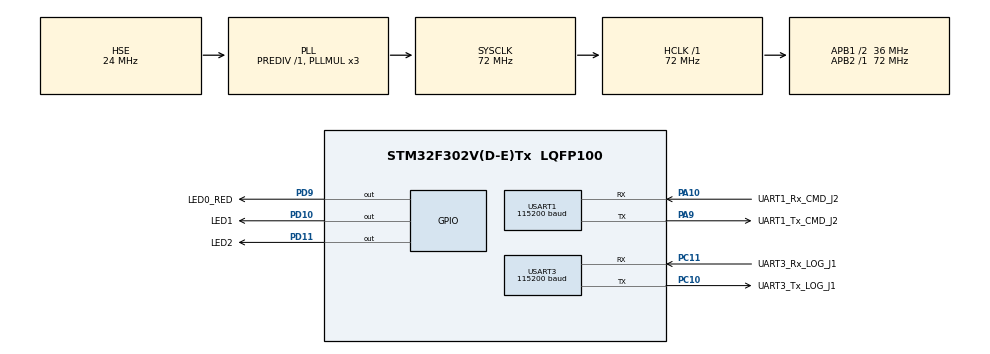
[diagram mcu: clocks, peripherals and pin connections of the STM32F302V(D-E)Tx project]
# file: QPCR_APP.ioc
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Dma.Request0=USART1_RX
Dma.USART1_RX.0.Direction=DMA_PERIPH_TO_MEMORY
Dma.USART1_RX.0.Instance=DMA1_Channel5
Dma.USART1_RX.0.MemDataAlignment=DMA_MDATAALIGN_BYTE
Dma.USART1_RX.0.MemInc=DMA_MINC_ENABLE
Dma.USART1_RX.0.Mode=DMA_CIRCULAR
Dma.USART1_RX.0.PeriphDataAlignment=DMA_PDATAALIGN_BYTE
Dma.USART1_RX.0.PeriphInc=DMA_PINC_DISABLE
Dma.USART1_RX.0.Priority=DMA_PRIORITY_HIGH
FREERTOS.INCLUDE_eTaskGetState=1
FREERTOS.Tasks01=taskTempCtrl,2,1024,startTaskTempCtrl,Default,NULL,Dynamic,NULL,NULL;taskCMDProcess,0,1024,startTaskCMDProcess,Default,NULL,Dynamic,NULL,NULL
FREERTOS.configCHECK_FOR_STACK_OVERFLOW=2
FREERTOS.configGENERATE_RUN_TIME_STATS=1
FREERTOS.configTOTAL_HEAP_SIZE=20480
FREERTOS.configUSE_IDLE_HOOK=1
FREERTOS.configUSE_MALLOC_FAILED_HOOK=1
FREERTOS.configUSE_STATS_FORMATTING_FUNCTIONS=1
FREERTOS.configUSE_TICK_HOOK=1
Mcu.Family=STM32F3
Mcu.Name=STM32F302V(D-E)Tx
Mcu.Package=LQFP100
NVIC.DMA1_Channel5_IRQn=true\:5\:0\:false\:false\:true\:true\:false\:true\:true
NVIC.PriorityGroup=NVIC_PRIORITYGROUP_4
NVIC.TIM6_DAC_IRQn=true\:15\:0\:false\:false\:true\:false\:false\:true\:true
NVIC.TimeBase=TIM6_DAC_IRQn
NVIC.TimeBaseIP=TIM6
NVIC.USART1_IRQn=true\:5\:0\:false\:false\:true\:true\:true\:true\:true
PA10.GPIO_Label=UART1_Rx_CMD_J2
PA10.GPIO_PuPd=GPIO_PULLUP
PA10.Mode=Asynchronous
PA10.Signal=USART1_RX
PA13.Mode=JTAG_5_pins
PA13.Signal=SYS_JTMS-SWDIO
PA14.Mode=JTAG_5_pins
PA14.Signal=SYS_JTCK-SWCLK
PA15.Mode=JTAG_5_pins
PA15.Signal=SYS_JTDI
PA9.GPIO_Label=UART1_Tx_CMD_J2
PA9.GPIO_PuPd=GPIO_PULLUP
PA9.Mode=Asynchronous
PA9.Signal=USART1_TX
PB3.Mode=JTAG_5_pins
PB3.Signal=SYS_JTDO-TRACESWO
PB4.Mode=JTAG_5_pins
PB4.Signal=SYS_NJTRST
PC10.GPIO_Label=UART3_Tx_LOG_J1
PC10.GPIO_PuPd=GPIO_PULLUP
PC10.Mode=Asynchronous
PC10.Signal=USART3_TX
PC11.GPIO_Label=UART3_Rx_LOG_J1
PC11.Mode=Asynchronous
PC11.Signal=USART3_RX
PD10.GPIO_Label=LED1
PD10.GPIO_PuPd=GPIO_PULLUP
PD10.PinState=GPIO_PIN_SET
PD10.Signal=GPIO_Output
PD11.GPIO_Label=LED2
PD11.GPIO_PuPd=GPIO_PULLUP
PD11.PinState=GPIO_PIN_SET
PD11.Signal=GPIO_Output
PD9.GPIO_Label=LED0_RED
PD9.GPIO_PuPd=GPIO_PULLUP
PD9.GPIO_Speed=GPIO_SPEED_FREQ_LOW
PD9.PinState=GPIO_PIN_SET
PD9.Signal=GPIO_Output
PF0-OSC_IN.Mode=HSE-External-Oscillator
PF0-OSC_IN.Signal=RCC_OSC_IN
PF1-OSC_OUT.Mode=HSE-External-Oscillator
PF1-OSC_OUT.Signal=RCC_OSC_OUT
ProjectManager.HeapSize=0x200
ProjectManager.StackSize=0x400
ProjectManager.TargetToolchain=MDK-ARM V5.32
RCC.AHBFreq_Value=72000000
RCC.APB1CLKDivider=RCC_HCLK_DIV2
RCC.APB1Freq_Value=36000000
RCC.APB1TimFreq_Value=72000000
RCC.APB2Freq_Value=72000000
RCC.APB2TimFreq_Value=72000000
RCC.CortexFreq_Value=72000000
RCC.HCLKFreq_Value=72000000
RCC.HSE_VALUE=24000000
RCC.HSI_VALUE=8000000
RCC.LSE_VALUE=32768
RCC.PLLMUL=RCC_PLL_MUL3
RCC.PLLSourceVirtual=RCC_PLLSOURCE_HSE
RCC.SYSCLKFreq_VALUE=72000000
RCC.SYSCLKSourceVirtual=RCC_SYSCLKSOURCE_PLLCLK
RCC.USBFreq_Value=72000000
USART1.BaudRate=115200
USART1.VirtualMode-Asynchronous=VM_ASYNC
USART3.BaudRate=115200
USART3.DMADisableonRxErrorParam=ADVFEATURE_DMA_DISABLEONRXERROR
USART3.Mode=MODE_TX
USART3.OverrunDisableParam=ADVFEATURE_OVERRUN_DISABLE
USART3.VirtualMode-Asynchronous=VM_ASYNC
VP_FREERTOS_VS_CMSIS_V1.Mode=CMSIS_V1
VP_SYS_VS_tim6.Mode=TIM6
board=custom

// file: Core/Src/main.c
/* USER CODE BEGIN Header */
/**
  ******************************************************************************
  * @file           : main.c
  * @brief          : Main program body
  ******************************************************************************
  * @attention
  *
  * Copyright (c) 2023 STMicroelectronics.
  * All rights reserved.
  *
  * This software is licensed under terms that can be found in the LICENSE file
  * in the root directory of this software component.
  * If no LICENSE file comes with this software, it is provided AS-IS.
  *
  ******************************************************************************
  */
/* USER CODE END Header */
#include "main.h"
#include "cmsis_os.h"
#include "dma.h"
#include "usart.h"
#include "gpio.h"

/* USER CODE BEGIN Includes */
#include "dbger.h"
/* USER CODE END Includes */

/* USER CODE BEGIN PD */
#define CMD_BUF_LEN         (256)
#define PRINT_TASK_STATE    (1)
/* USER CODE END PD */

/* USER CODE BEGIN PV */
uint8_t cmd_buf[CMD_BUF_LEN] = {0};
volatile unsigned long runTimeCounterValue = 0;
volatile uint8_t printStateFlag = 0;
/* USER CODE END PV */

void SystemClock_Config(void);
void MX_FREERTOS_Init(void);

int main(void)
{

  /* MCU Configuration--------------------------------------------------------*/

  /* Reset of all peripherals, Initializes the Flash interface and the Systick. */
  HAL_Init();

  /* Configure the system clock */
  SystemClock_Config();

  /* USER CODE BEGIN SysInit */
  LOG_INIT();
  LOG_AST("HelloWorld! number[%d]\r\n", 1);
  LOG_ERR("HelloWorld! number[%c]\r\n", '2');
  LOG_WAR("HelloWorld! number[%s]\r\n", "3");
  LOG_INF("HelloWorld! number[%f]\r\n", 3.14);
  LOG_DBG("HelloWorld! number[%5.3f]\r\n", 308.1415);
  LOG_VBS("HelloWorld! number[%5.2f]\r\n", -3.4);
  /* USER CODE END SysInit */

  /* Initialize all configured peripherals */
  MX_GPIO_Init();
  MX_DMA_Init();
  MX_USART1_UART_Init();
  MX_USART3_UART_Init();
  /* USER CODE BEGIN 2 */
  HAL_UARTEx_ReceiveToIdle_DMA(&huart1, cmd_buf, CMD_BUF_LEN);      // no need to enable the idle interrupt
  /* USER CODE END 2 */

  /* Call init function for freertos objects (in freertos.c) */
  MX_FREERTOS_Init();

  /* Start scheduler */
  osKernelStart();

  /* We should never get here as control is now taken by the scheduler */
  /* Infinite loop */
  while (1)
  {

  }
}

void SystemClock_Config(void)
{
  RCC_OscInitTypeDef RCC_OscInitStruct = {0};
  RCC_ClkInitTypeDef RCC_ClkInitStruct = {0};
  RCC_PeriphCLKInitTypeDef PeriphClkInit = {0};

  /** Initializes the RCC Oscillators according to the specified parameters
  * in the RCC_OscInitTypeDef structure.
  */
  RCC_OscInitStruct.OscillatorType = RCC_OSCILLATORTYPE_HSE;
  RCC_OscInitStruct.HSEState = RCC_HSE_ON;
  RCC_OscInitStruct.HSIState = RCC_HSI_ON;
  RCC_OscInitStruct.PLL.PLLState = RCC_PLL_ON;
  RCC_OscInitStruct.PLL.PLLSource = RCC_PLLSOURCE_HSE;
  RCC_OscInitStruct.PLL.PLLMUL = RCC_PLL_MUL3;
  RCC_OscInitStruct.PLL.PREDIV = RCC_PREDIV_DIV1;
  if (HAL_RCC_OscConfig(&RCC_OscInitStruct) != HAL_OK)
  {
    Error_Handler();
  }

  /** Initializes the CPU, AHB and APB buses clocks
  */
  RCC_ClkInitStruct.ClockType = RCC_CLOCKTYPE_HCLK|RCC_CLOCKTYPE_SYSCLK
                              |RCC_CLOCKTYPE_PCLK1|RCC_CLOCKTYPE_PCLK2;
  RCC_ClkInitStruct.SYSCLKSource = RCC_SYSCLKSOURCE_PLLCLK;
  RCC_ClkInitStruct.AHBCLKDivider = RCC_SYSCLK_DIV1;
  RCC_ClkInitStruct.APB1CLKDivider = RCC_HCLK_DIV2;
  RCC_ClkInitStruct.APB2CLKDivider = RCC_HCLK_DIV1;

  if (HAL_RCC_ClockConfig(&RCC_ClkInitStruct, FLASH_LATENCY_2) != HAL_OK)
  {
    Error_Handler();
  }
  PeriphClkInit.PeriphClockSelection = RCC_PERIPHCLK_USART1|RCC_PERIPHCLK_USART3;
  PeriphClkInit.Usart1ClockSelection = RCC_USART1CLKSOURCE_PCLK2;
  PeriphClkInit.Usart3ClockSelection = RCC_USART3CLKSOURCE_PCLK1;
  if (HAL_RCCEx_PeriphCLKConfig(&PeriphClkInit) != HAL_OK)
  {
    Error_Handler();
  }
}

/* USER CODE BEGIN 4 */
void vApplicationTickHook( void )
{
   static uint32_t i = 1;

   runTimeCounterValue++;

   if(i % 500 == 0) {
       HAL_GPIO_TogglePin(LED1_GPIO_Port, LED1_Pin);
       //LOG_VBS("LED1 toggle...\r\n");
   }

   #if( PRINT_TASK_STATE == 1 )
   {
       if(i % 5000 == 0) {
           printStateFlag = 1;   // can NOT call vTaskList() & vTaskGetRunTimeStats() in vApplicationTickHook() directly!!! Maybe 1ms is NOT enough to execute finished.
       }
   }
   #endif

   if(++i >= 1000000) {
       i = 0;
   }
}

void vApplicationIdleHook( void )
{
    #if( PRINT_TASK_STATE == 1 )
    {
        static char stateBuf[256];      // This will ask space at global variable area. Be sure the length is enough!!!
        // char stateBuf[256];          // can NOT work! This will occupy the task stack area which has no enough space.

        if(printStateFlag == 1) {
            printStateFlag = 0;

            LOG_VBS("/**************** TASK STATES START ******************/\r\n");
            // TaskName, RunTimeCounter, UseRate(TotalTime[%d]ms)
            LOG_VBS("TaskName      RunTimeCnt\tUseRate(TotalTime[%d]ms)\r\n", runTimeCounterValue);
            vTaskGetRunTimeStats(stateBuf);     // must rewrite getRunTimeCounterValue()
            LOG_VBS("%s\r\n", stateBuf);

            // TaskName, TaskState, RestStack, TaskID,
            LOG_VBS("TaskName      State    Pri    RestStack TaskID\r\n");
            vTaskList(stateBuf);
            LOG_VBS("%s", stateBuf);
            LOG_VBS("/***************** TASK STATES END *******************/\r\n\r\n");
        }
    }
    #endif
}

// return runTimeCounterValue in ms
unsigned long getRunTimeCounterValue(void)
{
    return runTimeCounterValue;
}

void vApplicationMallocFailedHook(void)
{
    while(1);
}
/* USER CODE END 4 */

void HAL_TIM_PeriodElapsedCallback(TIM_HandleTypeDef *htim)
{
  if (htim->Instance == TIM6) {
    HAL_IncTick();
  }
}

void Error_Handler(void)
{
  __disable_irq();
  while (1)
  {
  }
}

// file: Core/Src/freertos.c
/* USER CODE BEGIN Header */
/**
  ******************************************************************************
  * File Name          : freertos.c
  * Description        : Code for freertos applications
  ******************************************************************************
  * @attention
  *
  * Copyright (c) 2023 STMicroelectronics.
  * All rights reserved.
  *
  * This software is licensed under terms that can be found in the LICENSE file
  * in the root directory of this software component.
  * If no LICENSE file comes with this software, it is provided AS-IS.
  *
  ******************************************************************************
  */
/* USER CODE END Header */

#include "FreeRTOS.h"
#include "task.h"
#include "main.h"
#include "cmsis_os.h"

/* USER CODE BEGIN Includes */
#include "dbger.h"
/* USER CODE END Includes */

osThreadId taskTempCtrlHandle;
osThreadId taskCMDProcessHandle;

void startTaskTempCtrl(void const * argument);
void startTaskCMDProcess(void const * argument);

void MX_FREERTOS_Init(void); /* (MISRA C 2004 rule 8.1) */

/* GetIdleTaskMemory prototype (linked to static allocation support) */
void vApplicationGetIdleTaskMemory( StaticTask_t **ppxIdleTaskTCBBuffer, StackType_t **ppxIdleTaskStackBuffer, uint32_t *pulIdleTaskStackSize );

/* Hook prototypes */
void configureTimerForRunTimeStats(void);
unsigned long getRunTimeCounterValue(void);
void vApplicationIdleHook(void);
void vApplicationTickHook(void);
void vApplicationStackOverflowHook(xTaskHandle xTask, signed char *pcTaskName);
void vApplicationMallocFailedHook(void);

/* USER CODE BEGIN 1 */
/* Functions needed when configGENERATE_RUN_TIME_STATS is on */
__weak void configureTimerForRunTimeStats(void)
{

}

__weak unsigned long getRunTimeCounterValue(void)
{
return 0;
}
/* USER CODE END 1 */

/* USER CODE BEGIN 2 */
__weak void vApplicationIdleHook( void )
{
   /* vApplicationIdleHook() will only be called if configUSE_IDLE_HOOK is set
   to 1 in FreeRTOSConfig.h. It will be called on each iteration of the idle
   task. It is essential that code added to this hook function never attempts
   to block in any way (for example, call xQueueReceive() with a block time
   specified, or call vTaskDelay()). If the application makes use of the
   vTaskDelete() API function (as this demo application does) then it is also
   important that vApplicationIdleHook() is permitted to return to its calling
   function, because it is the responsibility of the idle task to clean up
   memory allocated by the kernel to any task that has since been deleted. */
}
/* USER CODE END 2 */

/* USER CODE BEGIN 3 */
__weak void vApplicationTickHook( void )
{
   /* This function will be called by each tick interrupt if
   configUSE_TICK_HOOK is set to 1 in FreeRTOSConfig.h. User code can be
   added here, but the tick hook is called from an interrupt context, so
   code must not attempt to block, and only the interrupt safe FreeRTOS API
   functions can be used (those that end in FromISR()). */
}
/* USER CODE END 3 */

/* USER CODE BEGIN 4 */
__weak void vApplicationStackOverflowHook(xTaskHandle xTask, signed char *pcTaskName)
{
   /* Run time stack overflow checking is performed if
   configCHECK_FOR_STACK_OVERFLOW is defined to 1 or 2. This hook function is
   called if a stack overflow is detected. */
}
/* USER CODE END 4 */

/* USER CODE BEGIN 5 */
__weak void vApplicationMallocFailedHook(void)
{
   /* vApplicationMallocFailedHook() will only be called if
   configUSE_MALLOC_FAILED_HOOK is set to 1 in FreeRTOSConfig.h. It is a hook
   function that will get called if a call to pvPortMalloc() fails.
   pvPortMalloc() is called internally by the kernel whenever a task, queue,
   timer or semaphore is created. It is also called by various parts of the
   demo application. If heap_1.c or heap_2.c are used, then the size of the
   heap available to pvPortMalloc() is defined by configTOTAL_HEAP_SIZE in
   FreeRTOSConfig.h, and the xPortGetFreeHeapSize() API function can be used
   to query the size of free heap space that remains (although it does not
   provide information on how the remaining heap might be fragmented). */
}
/* USER CODE END 5 */

/* USER CODE BEGIN GET_IDLE_TASK_MEMORY */
static StaticTask_t xIdleTaskTCBBuffer;
static StackType_t xIdleStack[configMINIMAL_STACK_SIZE];

void vApplicationGetIdleTaskMemory( StaticTask_t **ppxIdleTaskTCBBuffer, StackType_t **ppxIdleTaskStackBuffer, uint32_t *pulIdleTaskStackSize )
{
  *ppxIdleTaskTCBBuffer = &xIdleTaskTCBBuffer;
  *ppxIdleTaskStackBuffer = &xIdleStack[0];
  *pulIdleTaskStackSize = configMINIMAL_STACK_SIZE;
  /* place for user code */
}
/* USER CODE END GET_IDLE_TASK_MEMORY */

void MX_FREERTOS_Init(void) {

  /* Create the thread(s) */
  /* definition and creation of taskTempCtrl */
  osThreadDef(taskTempCtrl, startTaskTempCtrl, osPriorityHigh, 0, 1024);
  taskTempCtrlHandle = osThreadCreate(osThread(taskTempCtrl), NULL);

  /* definition and creation of taskCMDProcess */
  osThreadDef(taskCMDProcess, startTaskCMDProcess, osPriorityNormal, 0, 1024);
  taskCMDProcessHandle = osThreadCreate(osThread(taskCMDProcess), NULL);

}

void startTaskTempCtrl(void const * argument)
{
  /* USER CODE BEGIN startTaskTempCtrl */
  int i = 0;    // Occupy the task stack.
  /* Infinite loop */
  for(;;)
  {
    osDelay(1000);
    HAL_GPIO_TogglePin(LED0_RED_GPIO_Port, LED0_RED_Pin);
    LOG_DBG("i[%d]...\r\n", i++);
  }
  /* USER CODE END startTaskTempCtrl */
}

void startTaskCMDProcess(void const * argument)
{
  /* USER CODE BEGIN startTaskCMDProcess */
  /* Infinite loop */
  for(;;)
  {
    osDelay(100);
    HAL_GPIO_TogglePin(LED2_GPIO_Port, LED2_Pin);
  }
  /* USER CODE END startTaskCMDProcess */
}
